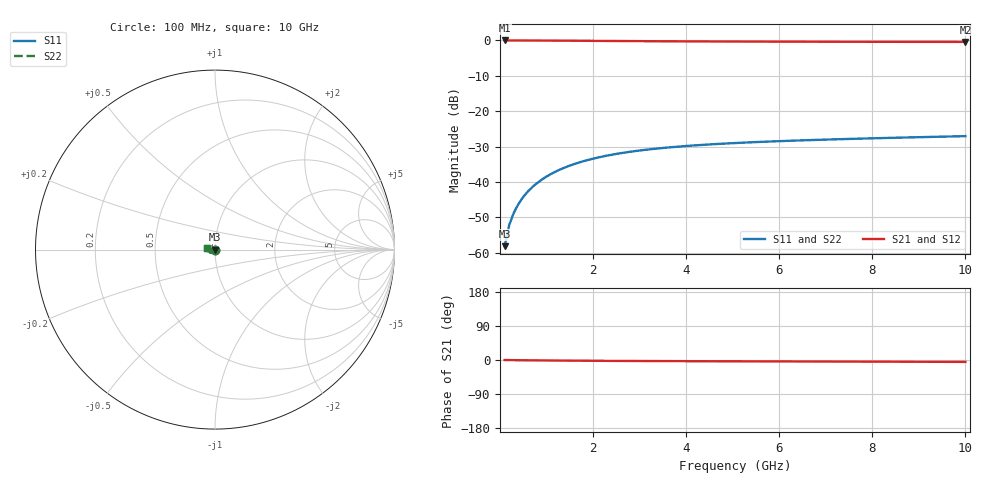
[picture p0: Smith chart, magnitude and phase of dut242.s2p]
! Touchstone file exported from HFSS 2024.1.0
!  File:  C:/UserFiles/LocalFiles/RDL_TSV_Batchsim/temp_TSV1_242_1779389680.aedt
!  Generated:  03:00:22 AM May 22, 2026
!  Design:  TSV1
!  Project:  temp_TSV1_242_1779389680
!  Setup:  Setup1
!  Solution:  Sweep
! Variables:
!  dtsv = 11.4um
!  hbump = 3um
!  htsv = 75.24um
!  lrdl = 252.1521522um
!  p = 40
!  p1 = 59.23um
!  t = 500um
!  trdl = 3um
!  wrdl = 24.89489489um
# GHz S MA R 50.000000
! Terminal data exported
! Port[1] = TSV22_T1
! Port[2] = TSV22_T2
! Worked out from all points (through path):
!   100 points, 100 MHz to 10 GHz, reference 50 ohm
!   highest |S21| = 0.00 dB at 100 MHz (marker M1); lowest = -0.4 dB at 10 GHz (marker M2)
!   lowest |S11| = -58.1 dB at 100 MHz (marker M3), VSWR 1.00, Z = 50 - j0.124 ohm
!   |S11| at or under -10 dB: start of sweep to end of sweep
!   |S22| runs from -58.1 to -27.0 dB; largest |S21 - S12| = 5.1e-15
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0.1  0.001244 -87.2  0.9998 -0.1  0.9998 -0.1  0.001244 -87.2
! Gamma 0 0 0 0
! Port Impedance 50 0 50 0
0.2  0.002481 -91.5  0.9997 -0.3  0.9997 -0.3  0.002481 -91.5
0.3  0.003717 -94.3  0.9995 -0.4  0.9995 -0.4  0.003717 -94.3
0.4  0.004946 -96.8  0.9991 -0.5  0.9991 -0.5  0.004946 -96.8
0.5  0.006164 -99.0  0.9987 -0.6  0.9987 -0.6  0.006164 -99.0
0.6  0.007367 -101.2  0.9982 -0.7  0.9982 -0.7  0.007367 -101.2
0.7  0.008551 -103.4  0.9977 -0.9  0.9977 -0.9  0.008551 -103.4
0.8  0.009714 -105.5  0.9971 -1.0  0.9971 -1.0  0.009714 -105.5
0.9  0.01085 -107.5  0.9964 -1.1  0.9964 -1.1  0.01085 -107.5
1.1  0.01305 -111.5  0.9949 -1.3  0.9949 -1.3  0.01305 -111.5
1.4  0.01612 -117.1  0.9924 -1.6  0.9924 -1.6  0.01612 -117.1
1.6  0.01801 -120.7  0.9905 -1.8  0.9905 -1.8  0.01801 -120.7
1.8  0.01977 -124.1  0.9887 -1.9  0.9887 -1.9  0.01977 -124.1
2.1  0.02217 -128.9  0.9858 -2.1  0.9858 -2.1  0.02217 -128.9
2.5  0.02497 -134.8  0.9822 -2.4  0.9822 -2.4  0.02497 -134.8
2.9  0.02736 -140.1  0.9788 -2.6  0.9788 -2.6  0.02736 -140.1
3.4  0.02986 -146.2  0.9749 -2.8  0.9749 -2.8  0.02986 -146.2
4.2  0.03301 -154.5  0.9698 -3.1  0.9698 -3.1  0.03301 -154.5
5.1  0.03571 -162.3  0.9654 -3.4  0.9654 -3.4  0.03571 -162.3
6.7  0.03923 -173.7  0.96 -3.9  0.96 -3.9  0.03923 -173.7
8.4  0.04212 176.7  0.9563 -4.5  0.9563 -4.5  0.04212 176.7
10  0.04451 169.1  0.954 -5.0  0.954 -5.0  0.04451 169.1
